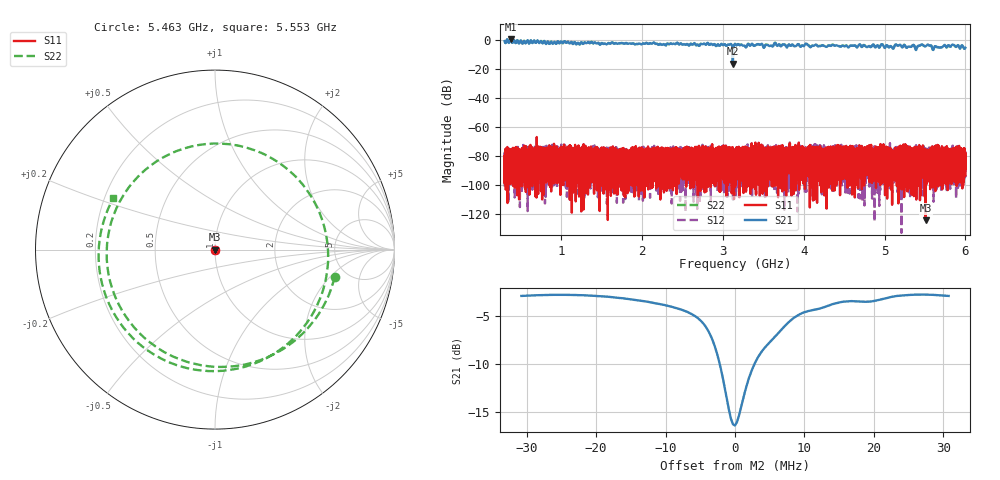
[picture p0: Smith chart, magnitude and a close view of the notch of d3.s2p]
!Agilent Technologies,N5230C,SG49000117,A.08.50.07
!Agilent N5230C: A.08.50.07
!Date: Sunday, March 17, 2024 02:35:49
!Correction: S11(Off)
!S21(Off)
!S12(Off)
!S22(Off)
!S2P File: Measurements: S11, S21, S12, S22:
# Hz S  RI  R 50
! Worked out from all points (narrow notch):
!   20001 points, 300 MHz to 6 GHz, reference 50 ohm
!   highest |S21| = 0.48 dB at 374.7 MHz (marker M1); lowest = -16.4 dB at 3.123 GHz (marker M2)
!   notch at M2: 13.1 dB deep, 5.16 MHz wide at half that depth
!   lowest |S11| = -124.3 dB at 5.508 GHz (marker M3), VSWR 1.00, Z = 50 + j5.87e-05 ohm
!   |S11| at or under -10 dB: start of sweep to end of sweep
!   |S22| runs from -16.4 to 0.5 dB; largest |S21 - S12| = 1.1
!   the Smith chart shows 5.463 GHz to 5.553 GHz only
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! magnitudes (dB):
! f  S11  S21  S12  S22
! 300 MHz  -97.6  -0.9  -85.5  -0.8
! 374.7 MHz  -89.0  0.5  -94.7  0.5
! 1.25 GHz  -83.1  -1.7  -80.0  -1.7
! 2.2 GHz  -83.5  -3.4  -94.0  -3.4
! 3.083 GHz  -75.7  -3.3  -77.5  -3.3
! 3.123 GHz  -87.1  -16.4  -84.8  -16.4
! 3.15 GHz  -82.4  -2.8  -81.0  -2.8
! 3.168 GHz  -74.3  -3.7  -87.8  -3.7
! 3.271 GHz  -87.4  -4.2  -86.5  -4.1
! 3.458 GHz  -81.5  -3.5  -81.9  -3.4
! 3.977 GHz  -89.2  -4.0  -80.8  -3.9
! 4.037 GHz  -81.2  -2.9  -90.5  -2.8
! 4.1 GHz  -79.4  -4.3  -76.6  -4.1
! 5.05 GHz  -79.8  -5.1  -81.0  -5.1
! 5.095 GHz  -82.8  -5.5  -80.2  -5.5
! 5.167 GHz  -81.3  -4.0  -75.4  -4.0
! 5.397 GHz  -80.8  -6.2  -80.1  -6.2
! 5.444 GHz  -107.2  -3.7  -86.8  -3.7
! 5.508 GHz  -124.3  -4.5  -84.1  -4.5
! 5.615 GHz  -89.7  -5.2  -83.9  -5.2
! 5.848 GHz  -95.4  -3.3  -77.7  -3.4
! 6 GHz  -81.2  -5.5  -82.5  -5.5
